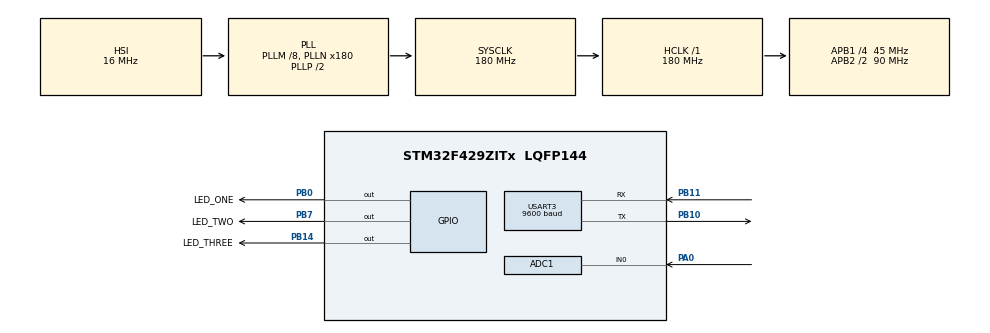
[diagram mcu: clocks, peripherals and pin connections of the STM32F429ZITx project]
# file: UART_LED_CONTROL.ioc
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ADC1.Channel-0\#ChannelRegularConversion=ADC_CHANNEL_0
ADC1.ContinuousConvMode=ENABLE
ADC1.NbrOfConversion=1
ADC1.NbrOfConversionFlag=1
ADC1.Rank-0\#ChannelRegularConversion=1
ADC1.SamplingTime-0\#ChannelRegularConversion=ADC_SAMPLETIME_144CYCLES
ADC1.ScanConvMode=ENABLE
ADC1.master=1
Mcu.Family=STM32F4
Mcu.Name=STM32F429ZITx
Mcu.Package=LQFP144
NVIC.PriorityGroup=NVIC_PRIORITYGROUP_4
NVIC.USART3_IRQn=true\:0\:0\:false\:false\:true\:true\:true\:true
PA0/WKUP.Signal=ADCx_IN0
PA13.Mode=Serial_Wire
PA13.Signal=SYS_JTMS-SWDIO
PA14.Mode=Serial_Wire
PA14.Signal=SYS_JTCK-SWCLK
PB0.GPIO_Label=LED_ONE
PB0.Signal=GPIO_Output
PB10.Mode=Asynchronous
PB10.Signal=USART3_TX
PB11.Mode=Asynchronous
PB11.Signal=USART3_RX
PB14.GPIO_Label=LED_THREE
PB14.Signal=GPIO_Output
PB7.GPIO_Label=LED_TWO
PB7.Signal=GPIO_Output
PH0/OSC_IN.Mode=HSE-External-Oscillator
PH0/OSC_IN.Signal=RCC_OSC_IN
PH1/OSC_OUT.Mode=HSE-External-Oscillator
PH1/OSC_OUT.Signal=RCC_OSC_OUT
ProjectManager.HeapSize=0x200
ProjectManager.StackSize=0x400
ProjectManager.TargetToolchain=STM32CubeIDE
RCC.48MHZClocksFreq_Value=90000000
RCC.AHBFreq_Value=180000000
RCC.APB1CLKDivider=RCC_HCLK_DIV4
RCC.APB1Freq_Value=45000000
RCC.APB1TimFreq_Value=90000000
RCC.APB2CLKDivider=RCC_HCLK_DIV2
RCC.APB2Freq_Value=90000000
RCC.APB2TimFreq_Value=180000000
RCC.CortexFreq_Value=180000000
RCC.HCLKFreq_Value=180000000
RCC.HSE_VALUE=8000000
RCC.HSI_VALUE=16000000
RCC.LSE_VALUE=32768
RCC.PLLM=8
RCC.PLLN=180
RCC.SYSCLKFreq_VALUE=180000000
RCC.SYSCLKSource=RCC_SYSCLKSOURCE_PLLCLK
RCC.VCOOutputFreq_Value=360000000
SH.ADCx_IN0.0=ADC1_IN0,IN0
USART3.BaudRate=9600
USART3.VirtualMode=VM_ASYNC
board=custom

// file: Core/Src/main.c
/* USER CODE BEGIN Header */
/**
 ******************************************************************************
 * @file           : main.c
 * @brief          : Main program body
 ******************************************************************************
 * @attention
 *
 * Copyright (c) 2023 STMicroelectronics.
 * All rights reserved.
 *
 * This software is licensed under terms that can be found in the LICENSE file
 * in the root directory of this software component.
 * If no LICENSE file comes with this software, it is provided AS-IS.
 *
 ******************************************************************************
 */
/* USER CODE END Header */
#include "main.h"
#include "adc.h"
#include "usart.h"
#include "gpio.h"
#include <string.h>
#include <stdio.h>
/* USER CODE BEGIN Includes */
uint8_t buffer[256]; // 시리얼 데이터를 저장할 버퍼 선언
/* USER CODE END Includes */

void SystemClock_Config(void);

/* USER CODE BEGIN 0 */
int myData = 0;
uint8_t _test = 0;

int _write(int fd, char *ptr, int len) {
	HAL_UART_Transmit(&huart3, (unsigned char*) ptr, len, HAL_MAX_DELAY);
	return len;
}

void HAL_UART_RxCpltCallback(UART_HandleTypeDef *huart) {

	if (huart->Instance == huart3.Instance) {

		HAL_UART_Receive_IT(&huart3, &myData, 1);

	}
}

/* USER CODE END 0 */

int main(void) {

	/* MCU Configuration--------------------------------------------------------*/

	/* Reset of all peripherals, Initializes the Flash interface and the Systick. */
	HAL_Init();

	/* Configure the system clock */
	SystemClock_Config();

	/* Initialize all configured peripherals */
	MX_GPIO_Init();
	MX_USART3_UART_Init();
	MX_ADC1_Init();
	/* USER CODE BEGIN 2 */
	char *str = "Hello world!";
	HAL_UART_Receive_IT(&huart3, &myData, 1);
	/* USER CODE END 2 */

	/* Infinite loop */
	/* USER CODE BEGIN WHILE */

	while (1) {

		HAL_ADC_Start(&hadc1);                 // ADC를 Enable시킨 후 conversion을 시작
		HAL_ADC_PollForConversion(&hadc1, HAL_MAX_DELAY); // conversion이 완료되기를 기다림
		uint16_t adc_value = HAL_ADC_GetValue(&hadc1);     // ADC 데이터를 읽어 변수에 저장
		//sprintf((char*) buffer, "ADC1-0: %d\n", adc_value); // 이하 UART를 통해 ADC 데이터 출력
		//HAL_UART_Transmit(&huart3, buffer, strlen((char*) buffer), 100);
		float dNum = adc_value*(3.3/4096);
		printf("%.3fv\r\n ", dNum);

		HAL_Delay(1000);

		/* UART TX ?��?�� ?��?��?��
		 HAL_UART_Transmit(&huart3, &testData, 1, 10);
		 HAL_Delay(1000);
		 */

		//if(HAL_UART_Receive(&huart3, &testData, 1, 10) == HAL_OK)
		/* USER CODE END WHILE */

	}
}

void SystemClock_Config(void) {
	RCC_OscInitTypeDef RCC_OscInitStruct = { 0 };
	RCC_ClkInitTypeDef RCC_ClkInitStruct = { 0 };

	/** Configure the main internal regulator output voltage
	 */
	__HAL_RCC_PWR_CLK_ENABLE();
	__HAL_PWR_VOLTAGESCALING_CONFIG(PWR_REGULATOR_VOLTAGE_SCALE1);

	/** Initializes the RCC Oscillators according to the specified parameters
	 * in the RCC_OscInitTypeDef structure.
	 */
	RCC_OscInitStruct.OscillatorType = RCC_OSCILLATORTYPE_HSI;
	RCC_OscInitStruct.HSIState = RCC_HSI_ON;
	RCC_OscInitStruct.HSICalibrationValue = RCC_HSICALIBRATION_DEFAULT;
	RCC_OscInitStruct.PLL.PLLState = RCC_PLL_ON;
	RCC_OscInitStruct.PLL.PLLSource = RCC_PLLSOURCE_HSI;
	RCC_OscInitStruct.PLL.PLLM = 8;
	RCC_OscInitStruct.PLL.PLLN = 180;
	RCC_OscInitStruct.PLL.PLLP = RCC_PLLP_DIV2;
	RCC_OscInitStruct.PLL.PLLQ = 4;
	if (HAL_RCC_OscConfig(&RCC_OscInitStruct) != HAL_OK) {
		Error_Handler();
	}

	/** Activate the Over-Drive mode
	 */
	if (HAL_PWREx_EnableOverDrive() != HAL_OK) {
		Error_Handler();
	}

	/** Initializes the CPU, AHB and APB buses clocks
	 */
	RCC_ClkInitStruct.ClockType = RCC_CLOCKTYPE_HCLK | RCC_CLOCKTYPE_SYSCLK
			| RCC_CLOCKTYPE_PCLK1 | RCC_CLOCKTYPE_PCLK2;
	RCC_ClkInitStruct.SYSCLKSource = RCC_SYSCLKSOURCE_PLLCLK;
	RCC_ClkInitStruct.AHBCLKDivider = RCC_SYSCLK_DIV1;
	RCC_ClkInitStruct.APB1CLKDivider = RCC_HCLK_DIV4;
	RCC_ClkInitStruct.APB2CLKDivider = RCC_HCLK_DIV2;

	if (HAL_RCC_ClockConfig(&RCC_ClkInitStruct, FLASH_LATENCY_5) != HAL_OK) {
		Error_Handler();
	}
}

void Error_Handler(void) {
	__disable_irq();
	while (1) {
	}
}
